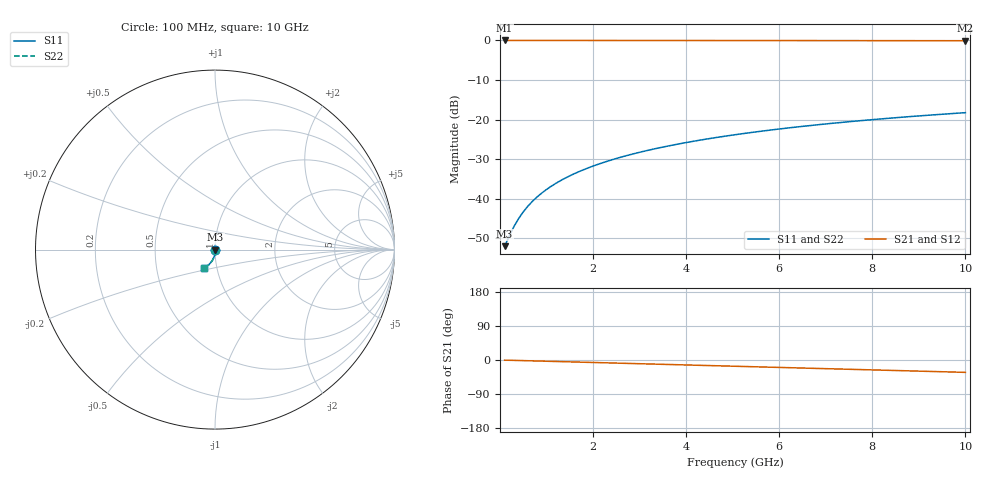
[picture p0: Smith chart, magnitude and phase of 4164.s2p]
# Hz S RI R 50.00
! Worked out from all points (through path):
!   100 points, 100 MHz to 10 GHz, reference 50 ohm
!   highest |S21| = -0.02 dB at 100 MHz (marker M1); lowest = -0.1 dB at 10 GHz (marker M2)
!   group delay of S21, straight-line fit = 9.06 ps
!   lowest |S11| = -52.0 dB at 100 MHz (marker M3), VSWR 1.01, Z = 50.2 - j0.131 ohm
!   |S11| at or under -10 dB: start of sweep to end of sweep
!   |S22| runs from -52.0 to -18.3 dB; largest |S21 - S12| = 0
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1e8  0.00215 -0.0013  0.9978 -0.00569  0.9978 -0.00569  0.00215 -0.0013
2e8  0.00213 -0.0026  0.9978 -0.0114  0.9978 -0.0114  0.00213 -0.0026
3e8  0.00211 -0.0039  0.9977 -0.0171  0.9977 -0.0171  0.00211 -0.0039
4e8  0.00206 -0.0052  0.9975 -0.0228  0.9975 -0.0228  0.00206 -0.0052
5e8  0.002 -0.0065  0.9974 -0.0284  0.9974 -0.0284  0.002 -0.0065
6e8  0.00192 -0.00779  0.9972 -0.0341  0.9972 -0.0341  0.00192 -0.00779
7e8  0.00183 -0.00909  0.9969 -0.0398  0.9969 -0.0398  0.00183 -0.00909
9e8  0.00159 -0.0117  0.9964 -0.0512  0.9964 -0.0512  0.00159 -0.0117
1e9  0.00146 -0.013  0.996 -0.0569  0.996 -0.0569  0.00146 -0.013
1.2e9  0.00113 -0.0156  0.9953 -0.0682  0.9953 -0.0682  0.00113 -0.0156
1.5e9  0.000541 -0.0194  0.9939 -0.0852  0.9939 -0.0852  0.000541 -0.0194
1.8e9  -0.000185 -0.0232  0.9922 -0.1022  0.9922 -0.1022  -0.000185 -0.0232
2.1e9  -0.00104 -0.027  0.9901 -0.1191  0.9901 -0.1191  -0.00104 -0.027
2.5e9  -0.00239 -0.0321  0.987 -0.1417  0.987 -0.1417  -0.00239 -0.0321
2.9e9  -0.00396 -0.037  0.9833 -0.1641  0.9833 -0.1641  -0.00396 -0.037
3.4e9  -0.00624 -0.0431  0.9779 -0.192  0.9779 -0.192  -0.00624 -0.0431
4.2e9  -0.0106 -0.0526  0.9676 -0.2363  0.9676 -0.2363  -0.0106 -0.0526
5.1e9  -0.0165 -0.0627  0.9536 -0.2853  0.9536 -0.2853  -0.0165 -0.0627
5.9e9  -0.0226 -0.0711  0.9389 -0.3282  0.9389 -0.3282  -0.0226 -0.0711
6.7e9  -0.0294 -0.079  0.9222 -0.3703  0.9222 -0.3703  -0.0294 -0.079
8.4e9  -0.0461 -0.0935  0.8804 -0.4566  0.8804 -0.4566  -0.0461 -0.0935
1e10  -0.064 -0.1039  0.8335 -0.5334  0.8335 -0.5334  -0.064 -0.1039
